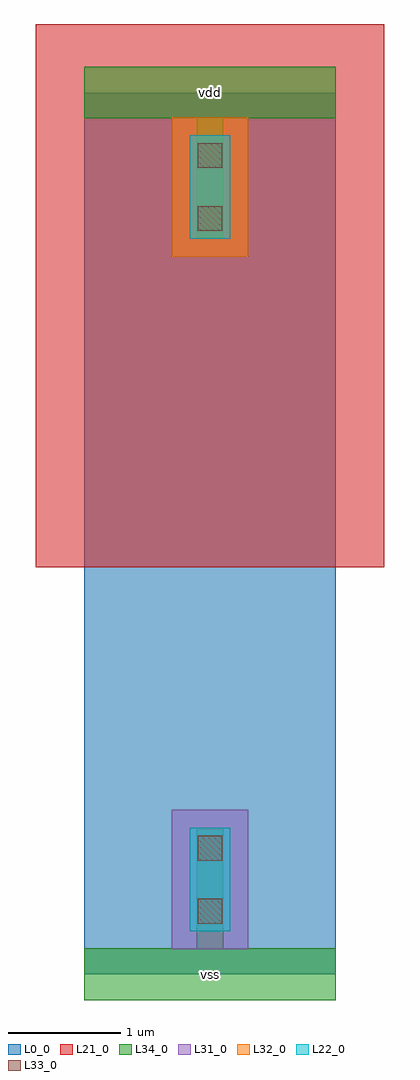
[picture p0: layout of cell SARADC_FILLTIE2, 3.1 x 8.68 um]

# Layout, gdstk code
import gdstk
lib = gdstk.Library(unit=1e-6, precision=1e-09)
def R(c, l, rs):  # rectangles x0, y0, x1, y1
    for r in rs: c.add(gdstk.rectangle(r[:2], r[2:], *l))
L0_0 = (0, 0)
L21_0 = (21, 0)
L22_0 = (22, 0)
L31_0 = (31, 0)
L32_0 = (32, 0)
L33_0 = (33, 0)
L34_0 = (34, 0)

saradc_filltie2 = lib.new_cell('SARADC_FILLTIE2')
R(saradc_filltie2, L0_0, [(0,0,2.24,7.84)])
R(saradc_filltie2, L21_0, [(-0.43,3.62,2.67,8.45)])
R(saradc_filltie2, L22_0, [(0.94,0.38,1.3,1.3), (0.94,6.54,1.3,7.46)])
R(saradc_filltie2, L31_0, [(0.78,0.22,1.46,1.46)])
R(saradc_filltie2, L32_0, [(0.78,6.38,1.46,7.62)])
R(saradc_filltie2, L33_0, [(1.01,0.45,1.23,0.67), (1.01,1.01,1.23,1.23), (1.01,6.61,1.23,6.83), (1.01,7.17,1.23,7.39)])
R(saradc_filltie2, L34_0, [(0,-0.23,2.24,0.23), (1,0,1.24,1.29), (1,6.55,1.24,7.84), (0,7.61,2.24,8.07)])
saradc_filltie2.add(gdstk.Label('vss', (1.12,0), layer=34, texttype=10))
saradc_filltie2.add(gdstk.Label('vdd', (1.12,7.84), layer=34, texttype=10))

lib.write_gds('SARADC_FILLTIE2.gds')
